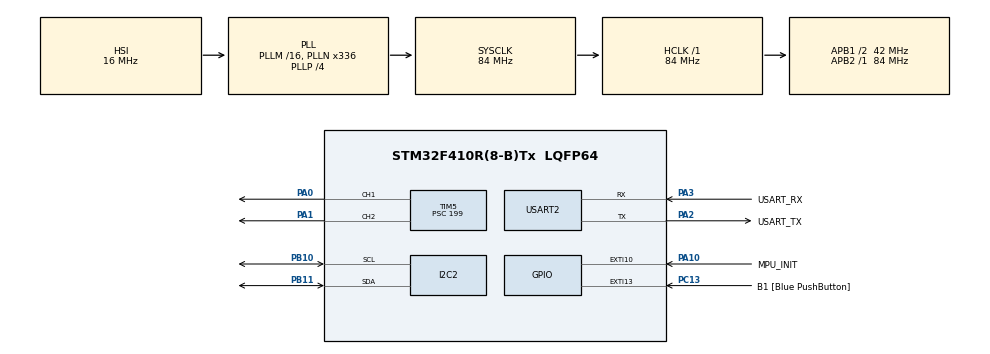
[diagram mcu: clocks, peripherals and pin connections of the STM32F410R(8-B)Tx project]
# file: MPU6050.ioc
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FREERTOS.Tasks01=defaultTask,24,128,StartDefaultTask,Default,NULL,Dynamic,NULL,NULL;SensorReadTask,32,128,Sensor_Read_Task,Default,NULL,Dynamic,NULL,NULL;PWMControlTask,40,128,PWM_Control_Task,Default,NULL,Dynamic,NULL,NULL
FREERTOS.configUSE_NEWLIB_REENTRANT=1
Mcu.Family=STM32F4
Mcu.Name=STM32F410R(8-B)Tx
Mcu.Package=LQFP64
NVIC.EXTI15_10_IRQn=true\:5\:0\:false\:false\:true\:true\:true\:true\:true
NVIC.PriorityGroup=NVIC_PRIORITYGROUP_4
NVIC.TIM5_IRQn=true\:5\:0\:false\:false\:true\:true\:true\:true\:true
NVIC.TIM6_DAC_IRQn=true\:15\:0\:false\:false\:true\:false\:false\:true\:true
NVIC.TimeBase=TIM6_DAC_IRQn
NVIC.TimeBaseIP=TIM6
PA0-WKUP.Signal=S_TIM5_CH1
PA1.Signal=S_TIM5_CH2
PA10.GPIO_Label=MPU_INIT
PA10.Signal=GPXTI10
PA13.GPIO_Label=TMS
PA13.Mode=Serial_Wire
PA13.Signal=SYS_JTMS-SWDIO
PA14.GPIO_Label=TCK
PA14.Mode=Serial_Wire
PA14.Signal=SYS_JTCK-SWCLK
PA2.GPIO_Label=USART_TX
PA2.Mode=Asynchronous
PA2.Signal=USART2_TX
PA3.GPIO_Label=USART_RX
PA3.Mode=Asynchronous
PA3.Signal=USART2_RX
PB10.Mode=I2C
PB10.Signal=I2C2_SCL
PB11.Mode=I2C
PB11.Signal=I2C2_SDA
PB3.GPIO_Label=SWO
PB3.Signal=SYS_JTDO-SWO
PC13-ANTI_TAMP.GPIO_Label=B1 [Blue PushButton]
PC13-ANTI_TAMP.GPIO_ModeDefaultEXTI=GPIO_MODE_IT_FALLING
PC13-ANTI_TAMP.Signal=GPXTI13
PC14-OSC32_IN.Mode=LSE-External-Oscillator
PC14-OSC32_IN.Signal=RCC_OSC32_IN
PC15-OSC32_OUT.Mode=LSE-External-Oscillator
PC15-OSC32_OUT.Signal=RCC_OSC32_OUT
PH0\ -\ OSC_IN.Mode=HSE-External-Clock-Source
PH0\ -\ OSC_IN.Signal=RCC_OSC_IN
PH1\ -\ OSC_OUT.Mode=HSE-External-Clock-Source
PH1\ -\ OSC_OUT.Signal=RCC_OSC_OUT
ProjectManager.HeapSize=0x200
ProjectManager.StackSize=0x400
ProjectManager.TargetToolchain=STM32CubeIDE
RCC.48MHZClocksFreq_Value=84000000
RCC.AHBFreq_Value=84000000
RCC.APB1CLKDivider=RCC_HCLK_DIV2
RCC.APB1Freq_Value=42000000
RCC.APB1TimFreq_Value=84000000
RCC.APB2Freq_Value=84000000
RCC.APB2TimFreq_Value=84000000
RCC.CortexFreq_Value=84000000
RCC.FLatency-AdvancedSettings=FLASH_LATENCY_2
RCC.HCLKFreq_Value=84000000
RCC.HSE_VALUE=8000000
RCC.HSI_VALUE=16000000
RCC.PLLN=336
RCC.PLLP=RCC_PLLP_DIV4
RCC.SYSCLKFreq_VALUE=84000000
RCC.SYSCLKSource=RCC_SYSCLKSOURCE_PLLCLK
RCC.VCOOutputFreq_Value=336000000
SH.S_TIM5_CH1.0=TIM5_CH1,PWM Generation1 CH1
SH.S_TIM5_CH2.0=TIM5_CH2,PWM Generation2 CH2
TIM5.Channel-PWM\ Generation1\ CH1=TIM_CHANNEL_1
TIM5.Channel-PWM\ Generation2\ CH2=TIM_CHANNEL_2
TIM5.Period=19999
TIM5.Prescaler=199
TIM5.Pulse-PWM\ Generation1\ CH1=8000
TIM5.Pulse-PWM\ Generation2\ CH2=8000
USART2.VirtualMode=VM_ASYNC
VP_FREERTOS_VS_CMSIS_V2.Mode=CMSIS_V2
VP_SYS_VS_tim6.Mode=TIM6
VP_TIM5_VS_ClockSourceINT.Mode=Internal
board=NUCLEO-F410RB

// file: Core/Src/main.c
/* USER CODE BEGIN Header */
/**
  ******************************************************************************
  * @file           : main.c
  * @brief          : Main program body
  ******************************************************************************
  * @attention
  *
  * Copyright (c) 2026 STMicroelectronics.
  * All rights reserved.
  *
  * This software is licensed under terms that can be found in the LICENSE file
  * in the root directory of this software component.
  * If no LICENSE file comes with this software, it is provided AS-IS.
  *
  ******************************************************************************
  */
/* USER CODE END Header */
#include "main.h"
#include "cmsis_os.h"

/* USER CODE BEGIN Includes */
#include"mpu.h"
#include <stdio.h>
#include <string.h>
#include"kalman_filter.h"
#include<stdlib.h>
/* USER CODE END Includes */

/* USER CODE BEGIN PTD */
#include<limits.h>
#include<task.h>
/* USER CODE END PTD */

I2C_HandleTypeDef hi2c2;

TIM_HandleTypeDef htim5;

UART_HandleTypeDef huart2;

/* Definitions for defaultTask */
osThreadId_t defaultTaskHandle;
const osThreadAttr_t defaultTask_attributes = {
  .name = "defaultTask",
  .stack_size = 128 * 4,
  .priority = (osPriority_t) osPriorityNormal,
};
/* Definitions for SensorReadTask */
osThreadId_t SensorReadTaskHandle;
const osThreadAttr_t SensorReadTask_attributes = {
  .name = "SensorReadTask",
  .stack_size = 128 * 4,
  .priority = (osPriority_t) osPriorityAboveNormal,
};
/* Definitions for PWMControlTask */
osThreadId_t PWMControlTaskHandle;
const osThreadAttr_t PWMControlTask_attributes = {
  .name = "PWMControlTask",
  .stack_size = 128 * 4,
  .priority = (osPriority_t) osPriorityHigh,
};
/* USER CODE BEGIN PV */
MPU_ACCEL_t accel_data;
MPU_GYRO_t gyro_data;

float angle1;
float roll_angle_filtered;
//  int16_t kalman_roll_angle;
uint32_t pwm_pulse=0;
float dt=0;
/* USER CODE END PV */

void SystemClock_Config(void);
static void MX_GPIO_Init(void);
static void MX_I2C2_Init(void);
static void MX_USART2_UART_Init(void);
static void MX_TIM5_Init(void);
void StartDefaultTask(void *argument);
void Sensor_Read_Task(void *argument);
void PWM_Control_Task(void *argument);

/* USER CODE BEGIN 0 */
MPU_ACCEL_t accl1;

#define PWM_PULSE_MIN 0
#define PWM_PULSE_MAX 10000
#define ANGLE_POS_MIN 0
#define ANGLE_POS_MAX 20

// Map function: re-maps a number from one range to another
long map(long x, long in_min, long in_max, long out_min, long out_max) {
    // Perform  mapping
    long result = (x - in_min) * (out_max - out_min) / (in_max - in_min) + out_min;

    // Clamp the result to the output range
    if (result > out_max) {
        result = out_max;
    } else if (result < out_min) {
        result = out_min;
    }

    return result;
}

void change_pwm_duty_cycle(uint32_t pwm_pulse, uint8_t timer_channel) {
	__HAL_TIM_SET_COMPARE(&htim5, timer_channel, pwm_pulse);
}

void init_cycle_counter(void) {
    // Enable DWT (Data Watchpoint and Trace)
    CoreDebug->DEMCR |= CoreDebug_DEMCR_TRCENA_Msk;
    // Reset cycle counter
    DWT->CYCCNT = 0;
    // Enable cycle counter
    DWT->CTRL |= DWT_CTRL_CYCCNTENA_Msk;
}

// Function to get the current cycle count
uint32_t get_cycle_count(void) {
    return DWT->CYCCNT;
}

/* USER CODE BEGIN 0 */

/* USER CODE END 0 */
/* USER CODE END 0 */

int main(void)
{

  /* MCU Configuration--------------------------------------------------------*/

  /* Reset of all peripherals, Initializes the Flash interface and the Systick. */
  HAL_Init();

  /* Configure the system clock */
  SystemClock_Config();

  /* Initialize all configured peripherals */
  MX_GPIO_Init();
  MX_I2C2_Init();
  MX_USART2_UART_Init();
  MX_TIM5_Init();
  /* USER CODE BEGIN 2 */
  HAL_TIM_PWM_Start(&htim5, TIM_CHANNEL_1);
  HAL_TIM_PWM_Start(&htim5, TIM_CHANNEL_2);
    char msg[64];
    HAL_UART_Transmit(&huart2, (uint8_t*)"Scanning I2C bus...\r\n", 21, 100);

    for(uint16_t i=0; i<128; i++)
    {
        // Check every possible address
        if(HAL_I2C_IsDeviceReady(&hi2c2, (i<<1), 1, 10) == HAL_OK)
        {
            sprintf(msg, "Device found at address: 0x%02X\r\n", (i<<1));
            HAL_UART_Transmit(&huart2, (uint8_t*)msg, strlen(msg), 100);
        }
    }
    HAL_UART_Transmit(&huart2, (uint8_t*)"Scan Complete.\r\n", 16, 100);
    /* USER CODE END 2 */
  MPU_6050_INIT();

  char msg2[] = "MPU Init Done.\r\n";
    HAL_UART_Transmit(&huart2, (uint8_t*)msg2, strlen(msg2), 100);

  MPU_Interrupt_Disable(ALL_INT);
  MPU_Interrupt_config(INT_LEVEL_ACTIVE_HIGH);
  MPU_Interrupt_Enable(RAW_RDY_INT);
  /* USER CODE END 2 */

  /* Init scheduler */
  osKernelInitialize();

  /* Create the thread(s) */
  /* creation of defaultTask */
  defaultTaskHandle = osThreadNew(StartDefaultTask, NULL, &defaultTask_attributes);

  /* creation of SensorReadTask */
  SensorReadTaskHandle = osThreadNew(Sensor_Read_Task, NULL, &SensorReadTask_attributes);

  /* creation of PWMControlTask */
  PWMControlTaskHandle = osThreadNew(PWM_Control_Task, NULL, &PWMControlTask_attributes);

  /* Start scheduler */
  osKernelStart();

  /* We should never get here as control is now taken by the scheduler */

  /* Infinite loop */
  while (1)
  {

  }
}

void SystemClock_Config(void)
{
  RCC_OscInitTypeDef RCC_OscInitStruct = {0};
  RCC_ClkInitTypeDef RCC_ClkInitStruct = {0};

  /** Configure the main internal regulator output voltage
  */
  __HAL_RCC_PWR_CLK_ENABLE();
  __HAL_PWR_VOLTAGESCALING_CONFIG(PWR_REGULATOR_VOLTAGE_SCALE1);

  /** Initializes the RCC Oscillators according to the specified parameters
  * in the RCC_OscInitTypeDef structure.
  */
  RCC_OscInitStruct.OscillatorType = RCC_OSCILLATORTYPE_HSI;
  RCC_OscInitStruct.HSIState = RCC_HSI_ON;
  RCC_OscInitStruct.HSICalibrationValue = RCC_HSICALIBRATION_DEFAULT;
  RCC_OscInitStruct.PLL.PLLState = RCC_PLL_ON;
  RCC_OscInitStruct.PLL.PLLSource = RCC_PLLSOURCE_HSI;
  RCC_OscInitStruct.PLL.PLLM = 16;
  RCC_OscInitStruct.PLL.PLLN = 336;
  RCC_OscInitStruct.PLL.PLLP = RCC_PLLP_DIV4;
  RCC_OscInitStruct.PLL.PLLQ = 4;
  RCC_OscInitStruct.PLL.PLLR = 2;
  if (HAL_RCC_OscConfig(&RCC_OscInitStruct) != HAL_OK)
  {
    Error_Handler();
  }

  /** Initializes the CPU, AHB and APB buses clocks
  */
  RCC_ClkInitStruct.ClockType = RCC_CLOCKTYPE_HCLK|RCC_CLOCKTYPE_SYSCLK
                              |RCC_CLOCKTYPE_PCLK1|RCC_CLOCKTYPE_PCLK2;
  RCC_ClkInitStruct.SYSCLKSource = RCC_SYSCLKSOURCE_PLLCLK;
  RCC_ClkInitStruct.AHBCLKDivider = RCC_SYSCLK_DIV1;
  RCC_ClkInitStruct.APB1CLKDivider = RCC_HCLK_DIV2;
  RCC_ClkInitStruct.APB2CLKDivider = RCC_HCLK_DIV1;

  if (HAL_RCC_ClockConfig(&RCC_ClkInitStruct, FLASH_LATENCY_2) != HAL_OK)
  {
    Error_Handler();
  }
}

static void MX_I2C2_Init(void)
{

  hi2c2.Instance = I2C2;
  hi2c2.Init.ClockSpeed = 100000;
  hi2c2.Init.DutyCycle = I2C_DUTYCYCLE_2;
  hi2c2.Init.OwnAddress1 = 0;
  hi2c2.Init.AddressingMode = I2C_ADDRESSINGMODE_7BIT;
  hi2c2.Init.DualAddressMode = I2C_DUALADDRESS_DISABLE;
  hi2c2.Init.OwnAddress2 = 0;
  hi2c2.Init.GeneralCallMode = I2C_GENERALCALL_DISABLE;
  hi2c2.Init.NoStretchMode = I2C_NOSTRETCH_DISABLE;
  if (HAL_I2C_Init(&hi2c2) != HAL_OK)
  {
    Error_Handler();
  }

}

static void MX_TIM5_Init(void)
{

  /* USER CODE BEGIN TIM5_Init 0 */
	__HAL_RCC_TIM5_CLK_ENABLE();
  /* USER CODE END TIM5_Init 0 */

  TIM_ClockConfigTypeDef sClockSourceConfig = {0};
  TIM_MasterConfigTypeDef sMasterConfig = {0};
  TIM_OC_InitTypeDef sConfigOC = {0};

  htim5.Instance = TIM5;
  htim5.Init.Prescaler = 199;
  htim5.Init.CounterMode = TIM_COUNTERMODE_UP;
  htim5.Init.Period = 19999;
  htim5.Init.ClockDivision = TIM_CLOCKDIVISION_DIV1;
  htim5.Init.AutoReloadPreload = TIM_AUTORELOAD_PRELOAD_DISABLE;
  if (HAL_TIM_Base_Init(&htim5) != HAL_OK)
  {
    Error_Handler();
  }
  sClockSourceConfig.ClockSource = TIM_CLOCKSOURCE_INTERNAL;
  if (HAL_TIM_ConfigClockSource(&htim5, &sClockSourceConfig) != HAL_OK)
  {
    Error_Handler();
  }
  if (HAL_TIM_PWM_Init(&htim5) != HAL_OK)
  {
    Error_Handler();
  }
  sMasterConfig.MasterOutputTrigger = TIM_TRGO_RESET;
  sMasterConfig.MasterSlaveMode = TIM_MASTERSLAVEMODE_DISABLE;
  if (HAL_TIMEx_MasterConfigSynchronization(&htim5, &sMasterConfig) != HAL_OK)
  {
    Error_Handler();
  }
  sConfigOC.OCMode = TIM_OCMODE_PWM1;
  sConfigOC.Pulse = 8000;
  sConfigOC.OCPolarity = TIM_OCPOLARITY_HIGH;
  sConfigOC.OCFastMode = TIM_OCFAST_DISABLE;
  if (HAL_TIM_PWM_ConfigChannel(&htim5, &sConfigOC, TIM_CHANNEL_1) != HAL_OK)
  {
    Error_Handler();
  }
  if (HAL_TIM_PWM_ConfigChannel(&htim5, &sConfigOC, TIM_CHANNEL_2) != HAL_OK)
  {
    Error_Handler();
  }
  /* USER CODE BEGIN TIM5_Init 2 */
  HAL_NVIC_SetPriority(TIM5_IRQn, 0, 0);
  HAL_NVIC_EnableIRQ(TIM5_IRQn);
  /* USER CODE END TIM5_Init 2 */
  HAL_TIM_MspPostInit(&htim5);

}

static void MX_USART2_UART_Init(void)
{

  huart2.Instance = USART2;
  huart2.Init.BaudRate = 115200;
  huart2.Init.WordLength = UART_WORDLENGTH_8B;
  huart2.Init.StopBits = UART_STOPBITS_1;
  huart2.Init.Parity = UART_PARITY_NONE;
  huart2.Init.Mode = UART_MODE_TX_RX;
  huart2.Init.HwFlowCtl = UART_HWCONTROL_NONE;
  huart2.Init.OverSampling = UART_OVERSAMPLING_16;
  if (HAL_UART_Init(&huart2) != HAL_OK)
  {
    Error_Handler();
  }

}

static void MX_GPIO_Init(void)
{
  GPIO_InitTypeDef GPIO_InitStruct = {0};

  /* GPIO Ports Clock Enable */
  __HAL_RCC_GPIOC_CLK_ENABLE();
  __HAL_RCC_GPIOH_CLK_ENABLE();
  __HAL_RCC_GPIOA_CLK_ENABLE();
  __HAL_RCC_GPIOB_CLK_ENABLE();

  /*Configure GPIO pin : B1_Pin */
  GPIO_InitStruct.Pin = B1_Pin;
  GPIO_InitStruct.Mode = GPIO_MODE_IT_FALLING;
  GPIO_InitStruct.Pull = GPIO_NOPULL;
  HAL_GPIO_Init(B1_GPIO_Port, &GPIO_InitStruct);

  /*Configure GPIO pin : MPU_INIT_Pin */
  GPIO_InitStruct.Pin = MPU_INIT_Pin;
  GPIO_InitStruct.Mode = GPIO_MODE_IT_RISING;
  GPIO_InitStruct.Pull = GPIO_NOPULL;
  HAL_GPIO_Init(MPU_INIT_GPIO_Port, &GPIO_InitStruct);

  /* EXTI interrupt init*/
  HAL_NVIC_SetPriority(EXTI15_10_IRQn, 5, 0);
  HAL_NVIC_EnableIRQ(EXTI15_10_IRQn);

}

void StartDefaultTask(void *argument)
{
  for(;;)
  {
    osDelay(1);
  }
}

void Sensor_Read_Task(void *argument)
{
    for(;;)
    {
        // Wait for interrupt notification (binary semaphore style)
        ulTaskNotifyTake(pdTRUE, portMAX_DELAY);

        // Read and calibrate sensor data
        MPU_READ_ACCELEROMETER(&accel_data);
        MPU_READ_GYROMETER(&gyro_data);
//        accel_data = ACCELEROMETER_CALIBRATION(&accel_data, &error_offset);
//        gyro_data = GYROSCOPE_CALIBRATION(&gyro_data, &error_offset1);

        // Pack data (prevent sign extension)
        uint32_t accel_yz = ((uint32_t)(uint16_t)accel_data.y << 16) |
                            (uint16_t)accel_data.z;

        // Send to PWM control task
        xTaskNotify(PWMControlTaskHandle, accel_yz, eSetValueWithOverwrite);
    }
}

void PWM_Control_Task(void *argument)
{
    KalmanFilter kf;
    kalman_filter_init(&kf);
    uint32_t previous_tick = osKernelGetTickCount();
    uint32_t accel_data_yz;

    for(;;)
    {
        // Wait for sensor data
        xTaskNotifyWait(0, ULONG_MAX, &accel_data_yz, portMAX_DELAY);

        // Unpack data
        accel_data.y = (int16_t)((accel_data_yz >> 16) & 0xFFFF);
        accel_data.z = (int16_t)(accel_data_yz & 0xFFFF);

        // Calculate dt
        uint32_t current_tick = HAL_GetTick();
        dt = (current_tick - previous_tick) / 1000.0f;
        previous_tick = current_tick;

        // Calculate filtered angle
        angle1 = roll_angle(&accel_data);
        roll_angle_filtered = kalman_filter_get_angle(&kf, angle1, dt);
        // Determine channel based on sign
        uint8_t channel = (roll_angle_filtered < 0) ? TIM_CHANNEL_2 : TIM_CHANNEL_1;

        // Use absolute value
        roll_angle_filtered = fabsf(roll_angle_filtered);

        // Map to PWM pulse
        pwm_pulse = map(roll_angle_filtered, ANGLE_POS_MIN, ANGLE_POS_MAX,
                        PWM_PULSE_MIN, PWM_PULSE_MAX);

        // Update PWM
        change_pwm_duty_cycle(pwm_pulse, channel);
    }
}
void HAL_TIM_PeriodElapsedCallback(TIM_HandleTypeDef *htim)
{
  if (htim->Instance == TIM6)
  {
    HAL_IncTick();
  }
}

void Error_Handler(void)
{
  __disable_irq();
  while (1)
  {
  }
}
void HAL_GPIO_EXTI_Callback(uint16_t GPIO_Pin)
{
	 if (GPIO_Pin == MPU_INIT_Pin) {
		 mpu_interrupt_handle();
	 }
}
